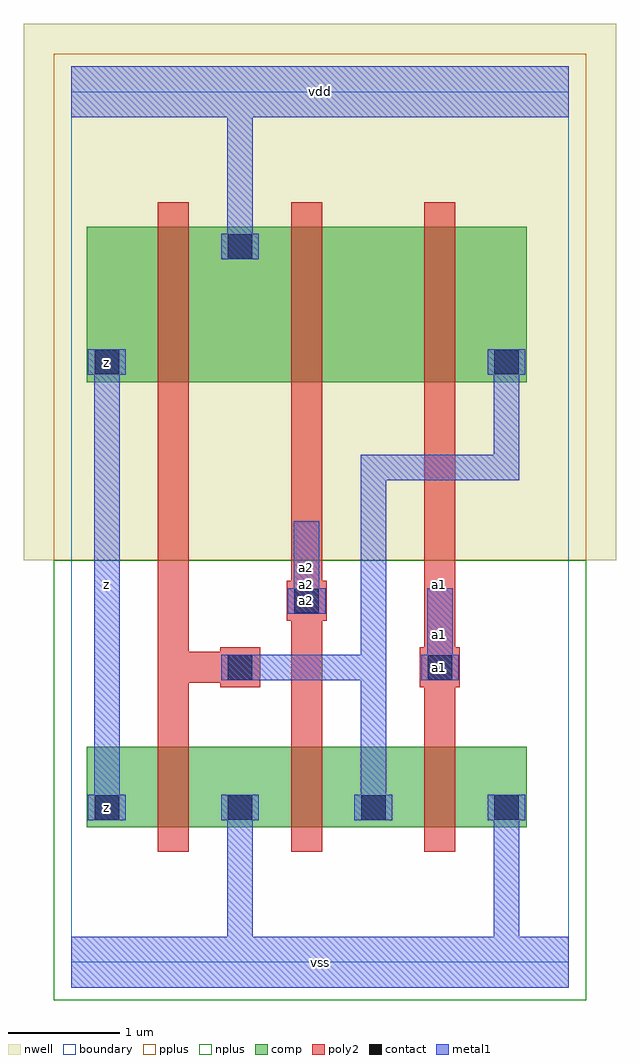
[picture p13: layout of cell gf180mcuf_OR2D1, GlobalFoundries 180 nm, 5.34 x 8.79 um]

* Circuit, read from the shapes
.subckt gf180mcuf_OR2D1 a1 a2 vdd vss z
XM1 vss n1 z VSUBS nfet_03v3 w=0.725u l=0.28u
XM2 n1 a2 vss VSUBS nfet_03v3 w=0.725u l=0.28u
XM3 vss a1 n1 VSUBS nfet_03v3 w=0.725u l=0.28u
XM4 vdd n1 z n2 pfet_03v3 w=1.4u l=0.28u
XM5 n3 a2 vdd n2 pfet_03v3 w=1.4u l=0.28u
XM6 n1 a1 n3 n2 pfet_03v3 w=1.4u l=0.28u
.ends

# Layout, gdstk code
import gdstk
lib = gdstk.Library(unit=1e-6, precision=1e-09)
def R(c, l, rs):  # rectangles x0, y0, x1, y1
    for r in rs: c.add(gdstk.rectangle(r[:2], r[2:], *l))
def A(c, l, x, y, w, h, nx, ny, dx, dy):  # array of equal rectangles
    R(c, l, [(x+i*dx, y+j*dy, x+i*dx+w, y+j*dy+h) for i in range(nx) for j in range(ny)])
boundary = (0, 0)
nwell = (21, 0)
comp = (22, 0)
poly2 = (30, 0)
pplus = (31, 0)
nplus = (32, 0)
contact = (33, 0)
metal1 = (34, 0)

gf180mcuf_or2d1 = lib.new_cell('gf180mcuf_OR2D1')
R(gf180mcuf_or2d1, boundary, [(0,0,4.48,7.84)])
R(gf180mcuf_or2d1, nwell, [(-0.43,3.62,4.91,8.45)])
A(gf180mcuf_or2d1, comp, 0.14, 1.215, 1.56, 0.725, 3, 1, 1.2, 0)
A(gf180mcuf_or2d1, comp, 0.14, 1.215, 0.36, 0.36, 4, 1, 1.2, 0)
A(gf180mcuf_or2d1, comp, 0.14, 5.225, 1.56, 1.4, 3, 1, 1.2, 0)
R(gf180mcuf_or2d1, comp, [(0.14,5.225,0.5,5.585), (3.74,5.225,4.1,5.585), (1.34,6.265,1.7,6.625)])
A(gf180mcuf_or2d1, poly2, 0.78, 0.995, 0.28, 1.165, 3, 1, 1.2, 0)
A(gf180mcuf_or2d1, poly2, 0.78, 5.005, 0.28, 1.84, 3, 1, 1.2, 0)
R(gf180mcuf_or2d1, poly2, [(0.78,1.255,1.06,2.795), (1.98,1.255,2.26,5.545), (3.18,1.255,3.46,5.545), (1.34,2.475,1.7,2.835), (3.14,2.475,3.5,2.835), (0.78,2.515,1.66,2.795), (0.78,2.515,1.06,5.545), (1.94,3.075,2.3,3.435)])
R(gf180mcuf_or2d1, pplus, [(-0.16,3.62,4.64,7.5), (-0.16,7.5,4.64,8.18)])
R(gf180mcuf_or2d1, nplus, [(-0.16,-0.34,4.64,0.34), (-0.16,0.34,4.64,3.62)])
A(gf180mcuf_or2d1, contact, 0.21, 1.285, 0.22, 0.22, 4, 1, 1.2, 0)
R(gf180mcuf_or2d1, contact, [(1.41,2.545,1.63,2.765), (3.21,2.545,3.43,2.765), (2.01,3.145,2.23,3.365), (0.21,5.295,0.43,5.515), (3.81,5.295,4.03,5.515), (1.41,6.335,1.63,6.555)])
A(gf180mcuf_or2d1, metal1, 0.15, 1.28, 0.34, 0.23, 4, 1, 1.2, 0)
R(gf180mcuf_or2d1, metal1, [(0,-0.23,4.48,0.23), (1.405,0.065,1.635,1.51), (3.805,0.065,4.035,1.51), (0.205,1.28,0.435,5.52), (2.605,1.28,2.835,2.77), (1.35,2.54,1.69,2.77), (1.405,2.54,2.835,2.77), (2.605,2.54,2.835,4.57), (3.15,2.54,3.49,2.77), (3.205,2.54,3.435,3.37), (1.95,3.14,2.29,3.37), (2.005,3.14,2.235,3.97), (2.605,4.34,4.035,4.57), (3.805,4.34,4.035,5.52), (0.15,5.29,0.49,5.52), (3.75,5.29,4.09,5.52), (1.35,6.33,1.69,6.56), (1.405,6.33,1.635,7.775), (0,7.61,4.48,8.07)])
gf180mcuf_or2d1.add(gdstk.FlexPath([(0.14,0.575),(4.1,0.575)], 0, ends="flush", simple_path=True, layer=0, datatype=0))  # boundary
gf180mcuf_or2d1.add(gdstk.FlexPath([(0.14,1.395),(4.1,1.395)], 0, ends="flush", simple_path=True, layer=0, datatype=0))  # boundary
gf180mcuf_or2d1.add(gdstk.FlexPath([(0.14,2.655),(4.1,2.655)], 0, ends="flush", simple_path=True, layer=0, datatype=0))  # boundary
gf180mcuf_or2d1.add(gdstk.FlexPath([(0.14,3.255),(4.1,3.255)], 0, ends="flush", simple_path=True, layer=0, datatype=0))  # boundary
gf180mcuf_or2d1.add(gdstk.FlexPath([(0.14,3.855),(4.1,3.855)], 0, ends="flush", simple_path=True, layer=0, datatype=0))  # boundary
gf180mcuf_or2d1.add(gdstk.FlexPath([(0.14,4.455),(4.1,4.455)], 0, ends="flush", simple_path=True, layer=0, datatype=0))  # boundary
gf180mcuf_or2d1.add(gdstk.FlexPath([(0.14,5.405),(4.1,5.405)], 0, ends="flush", simple_path=True, layer=0, datatype=0))  # boundary
gf180mcuf_or2d1.add(gdstk.FlexPath([(0.14,6.445),(4.1,6.445)], 0, ends="flush", simple_path=True, layer=0, datatype=0))  # boundary
gf180mcuf_or2d1.add(gdstk.FlexPath([(0.14,7.265),(4.1,7.265)], 0, ends="flush", simple_path=True, layer=0, datatype=0))  # boundary
gf180mcuf_or2d1.add(gdstk.FlexPath([(0.32,0.065),(0.32,7.775)], 0, ends="flush", simple_path=True, layer=0, datatype=0))  # boundary
gf180mcuf_or2d1.add(gdstk.FlexPath([(0.92,0.065),(0.92,7.775)], 0, ends="flush", simple_path=True, layer=0, datatype=0))  # boundary
gf180mcuf_or2d1.add(gdstk.FlexPath([(1.52,0.065),(1.52,7.775)], 0, ends="flush", simple_path=True, layer=0, datatype=0))  # boundary
gf180mcuf_or2d1.add(gdstk.FlexPath([(2.12,0.065),(2.12,7.775)], 0, ends="flush", simple_path=True, layer=0, datatype=0))  # boundary
gf180mcuf_or2d1.add(gdstk.FlexPath([(2.72,0.065),(2.72,7.775)], 0, ends="flush", simple_path=True, layer=0, datatype=0))  # boundary
gf180mcuf_or2d1.add(gdstk.FlexPath([(3.32,0.065),(3.32,7.775)], 0, ends="flush", simple_path=True, layer=0, datatype=0))  # boundary
gf180mcuf_or2d1.add(gdstk.FlexPath([(3.92,0.065),(3.92,7.775)], 0, ends="flush", simple_path=True, layer=0, datatype=0))  # boundary
gf180mcuf_or2d1.add(gdstk.Label('z', (0.32,1.395), layer=22, texttype=0))
gf180mcuf_or2d1.add(gdstk.Label('z', (0.32,5.405), layer=22, texttype=0))
gf180mcuf_or2d1.add(gdstk.Label('a1', (3.32,3.4), layer=30, texttype=0))
gf180mcuf_or2d1.add(gdstk.Label('a1', (3.32,2.655), layer=30, texttype=0))
gf180mcuf_or2d1.add(gdstk.Label('a2', (2.12,3.4), layer=30, texttype=0))
gf180mcuf_or2d1.add(gdstk.Label('a2', (2.12,3.255), layer=30, texttype=0))
gf180mcuf_or2d1.add(gdstk.Label('z', (0.32,1.395), layer=33, texttype=0))
gf180mcuf_or2d1.add(gdstk.Label('z', (0.32,5.405), layer=33, texttype=0))
gf180mcuf_or2d1.add(gdstk.Label('a1', (3.32,2.655), layer=33, texttype=0))
gf180mcuf_or2d1.add(gdstk.Label('a2', (2.12,3.255), layer=33, texttype=0))
gf180mcuf_or2d1.add(gdstk.Label('z', (0.32,1.395), layer=34, texttype=10))
gf180mcuf_or2d1.add(gdstk.Label('z', (0.32,5.405), layer=34, texttype=10))
gf180mcuf_or2d1.add(gdstk.Label('z', (0.32,3.4), layer=34, texttype=10))
gf180mcuf_or2d1.add(gdstk.Label('a1', (3.32,2.655), layer=34, texttype=10))
gf180mcuf_or2d1.add(gdstk.Label('a1', (3.32,2.955), layer=34, texttype=10))
gf180mcuf_or2d1.add(gdstk.Label('a2', (2.12,3.255), layer=34, texttype=10))
gf180mcuf_or2d1.add(gdstk.Label('a2', (2.12,3.555), layer=34, texttype=10))
gf180mcuf_or2d1.add(gdstk.Label('vss', (2.24,0), layer=34, texttype=10))
gf180mcuf_or2d1.add(gdstk.Label('vdd', (2.24,7.84), layer=34, texttype=10))

lib.write_gds('gf180mcuf_OR2D1.gds')
